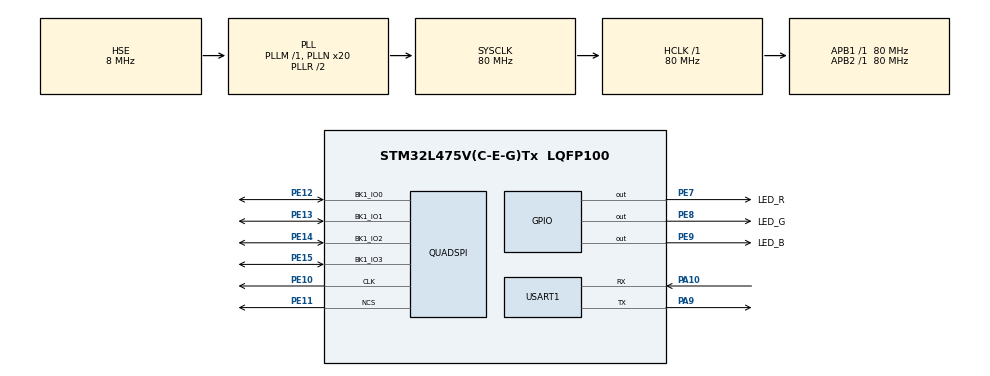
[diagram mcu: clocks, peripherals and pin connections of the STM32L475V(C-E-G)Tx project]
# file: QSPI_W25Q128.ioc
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Dma.QUADSPI.2.Direction=DMA_PERIPH_TO_MEMORY
Dma.QUADSPI.2.Instance=DMA1_Channel5
Dma.QUADSPI.2.MemDataAlignment=DMA_MDATAALIGN_BYTE
Dma.QUADSPI.2.MemInc=DMA_MINC_ENABLE
Dma.QUADSPI.2.Mode=DMA_NORMAL
Dma.QUADSPI.2.PeriphDataAlignment=DMA_PDATAALIGN_BYTE
Dma.QUADSPI.2.PeriphInc=DMA_PINC_DISABLE
Dma.QUADSPI.2.Priority=DMA_PRIORITY_LOW
Dma.Request0=USART1_RX
Dma.Request1=USART1_TX
Dma.Request2=QUADSPI
Dma.USART1_RX.0.Direction=DMA_PERIPH_TO_MEMORY
Dma.USART1_RX.0.Instance=DMA2_Channel7
Dma.USART1_RX.0.MemDataAlignment=DMA_MDATAALIGN_BYTE
Dma.USART1_RX.0.MemInc=DMA_MINC_ENABLE
Dma.USART1_RX.0.Mode=DMA_CIRCULAR
Dma.USART1_RX.0.PeriphDataAlignment=DMA_PDATAALIGN_BYTE
Dma.USART1_RX.0.PeriphInc=DMA_PINC_DISABLE
Dma.USART1_RX.0.Priority=DMA_PRIORITY_LOW
Dma.USART1_TX.1.Direction=DMA_MEMORY_TO_PERIPH
Dma.USART1_TX.1.Instance=DMA2_Channel6
Dma.USART1_TX.1.MemDataAlignment=DMA_MDATAALIGN_BYTE
Dma.USART1_TX.1.MemInc=DMA_MINC_ENABLE
Dma.USART1_TX.1.Mode=DMA_NORMAL
Dma.USART1_TX.1.PeriphDataAlignment=DMA_PDATAALIGN_BYTE
Dma.USART1_TX.1.PeriphInc=DMA_PINC_DISABLE
Dma.USART1_TX.1.Priority=DMA_PRIORITY_LOW
Mcu.Family=STM32L4
Mcu.Name=STM32L475V(C-E-G)Tx
Mcu.Package=LQFP100
NVIC.DMA1_Channel5_IRQn=true\:5\:1\:true\:false\:true\:false\:true
NVIC.DMA2_Channel6_IRQn=true\:7\:0\:true\:false\:true\:false\:true
NVIC.DMA2_Channel7_IRQn=true\:7\:1\:true\:false\:true\:false\:true
NVIC.PriorityGroup=NVIC_PRIORITYGROUP_3
NVIC.QUADSPI_IRQn=true\:5\:0\:true\:false\:true\:true\:true
NVIC.USART1_IRQn=true\:6\:0\:true\:false\:true\:true\:true
PA10.Mode=Asynchronous
PA10.Signal=USART1_RX
PA13\ (JTMS-SWDIO).Mode=Serial_Wire
PA13\ (JTMS-SWDIO).Signal=SYS_JTMS-SWDIO
PA14\ (JTCK-SWCLK).Mode=Serial_Wire
PA14\ (JTCK-SWCLK).Signal=SYS_JTCK-SWCLK
PA9.Mode=Asynchronous
PA9.Signal=USART1_TX
PE10.Mode=Single Bank
PE10.Signal=QUADSPI_CLK
PE11.Mode=Single Bank
PE11.Signal=QUADSPI_NCS
PE12.Mode=Single Bank
PE12.Signal=QUADSPI_BK1_IO0
PE13.Mode=Single Bank
PE13.Signal=QUADSPI_BK1_IO1
PE14.Mode=Single Bank
PE14.Signal=QUADSPI_BK1_IO2
PE15.Mode=Single Bank
PE15.Signal=QUADSPI_BK1_IO3
PE7.GPIO_Label=LED_R
PE7.GPIO_PuPd=GPIO_PULLUP
PE7.GPIO_Speed=GPIO_SPEED_FREQ_HIGH
PE7.PinState=GPIO_PIN_SET
PE7.Signal=GPIO_Output
PE8.GPIO_Label=LED_G
PE8.GPIO_PuPd=GPIO_PULLUP
PE8.GPIO_Speed=GPIO_SPEED_FREQ_HIGH
PE8.PinState=GPIO_PIN_SET
PE8.Signal=GPIO_Output
PE9.GPIO_Label=LED_B
PE9.GPIO_PuPd=GPIO_PULLUP
PE9.GPIO_Speed=GPIO_SPEED_FREQ_HIGH
PE9.PinState=GPIO_PIN_SET
PE9.Signal=GPIO_Output
PH0-OSC_IN\ (PH0).Mode=HSE-External-Oscillator
PH0-OSC_IN\ (PH0).Signal=RCC_OSC_IN
PH1-OSC_OUT\ (PH1).Mode=HSE-External-Oscillator
PH1-OSC_OUT\ (PH1).Signal=RCC_OSC_OUT
ProjectManager.HeapSize=0x200
ProjectManager.StackSize=0x400
ProjectManager.TargetToolchain=MDK-ARM V5
QUADSPI.ChipSelectHighTime-Single\ Bank=QSPI_CS_HIGH_TIME_2_CYCLE
QUADSPI.ClockPrescaler-Single\ Bank=0
QUADSPI.FifoThreshold-Single\ Bank=4
QUADSPI.FlashSize-Single\ Bank=23
QUADSPI.SampleShifting-Single\ Bank=QSPI_SAMPLE_SHIFTING_HALFCYCLE
RCC.ADCFreq_Value=32000000
RCC.AHBFreq_Value=80000000
RCC.APB1Freq_Value=80000000
RCC.APB1TimFreq_Value=80000000
RCC.APB2Freq_Value=80000000
RCC.APB2TimFreq_Value=80000000
RCC.CortexFreq_Value=80000000
RCC.HCLKFreq_Value=80000000
RCC.HSE_VALUE=8000000
RCC.HSI_VALUE=16000000
RCC.LSE_VALUE=32768
RCC.MSI_VALUE=4000000
RCC.PLLN=20
RCC.PLLSourceVirtual=RCC_PLLSOURCE_HSE
RCC.SYSCLKFreq_VALUE=80000000
RCC.SYSCLKSource=RCC_SYSCLKSOURCE_PLLCLK
RCC.USBFreq_Value=32000000
RCC.VCOOutputFreq_Value=160000000
USART1.VirtualMode-Asynchronous=VM_ASYNC
board=custom

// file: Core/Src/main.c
/* USER CODE BEGIN Header */
/**
  ******************************************************************************
  * @file           : main.c
  * @brief          : Main program body
  ******************************************************************************
  * @attention
  *
  * <h2><center>&copy; Copyright (c) 2019 STMicroelectronics.
  * All rights reserved.</center></h2>
  *
  * This software component is licensed by ST under BSD 3-Clause license,
  * the "License"; You may not use this file except in compliance with the
  * License. You may obtain a copy of the License at:
  *                        opensource.org/licenses/BSD-3-Clause
  *
  ******************************************************************************
  */
/* USER CODE END Header */

#include "main.h"

/* USER CODE BEGIN PD */

#define TestAddr  0x007F0000			//测试数据存储地址
#define TestSize  0x100           //测试数据大小

/* USER CODE END PD */

/* USER CODE BEGIN PV */

uint8_t wData[TestSize];
uint8_t rData[TestSize];

/* USER CODE END PV */

void SystemClock_Config(void);

int main(void)
{
  /* USER CODE BEGIN 1 */

  uint32_t i = 0;

  /* USER CODE END 1 */

  /* MCU Configuration--------------------------------------------------------*/

  /* Reset of all peripherals, Initializes the Flash interface and the Systick. */
  HAL_Init();

  /* Configure the system clock */
  SystemClock_Config();

  /* Initialize all configured peripherals */
  MX_GPIO_Init();
  MX_DMA_Init();
  MX_USART1_UART_Init();
  MX_QUADSPI_Init();
  /* USER CODE BEGIN 2 */

  printf(" W25Q128FV QuadSPI Test ....\r\n\r\n");

  /* 1- Read W25QXX Flash ID */
  W25QXX_TYPE = W25QXX_ReadID();

  printf(" W25Q128FV QuadSPI Device ID : 0x%4X\r\n",W25QXX_TYPE);
  if(W25QXX_TYPE == W25Q128)
    printf(" W25Q128FV QuadSPI Device name : W25Q128\r\n");

  /* 2-QSPI Erase/Write/Read Test */
  for(i = 0; i < TestSize; i++){
    wData[i] = i;
    rData[i] = 0;
  }

  W25QXX_Write(wData, TestAddr, TestSize);
  printf(" QSPI Write ok\r\n");

  W25QXX_Read(rData, TestAddr, TestSize);
  printf(" QSPI Read ok\r\n");

  printf("QSPI Read Data : \r\n");
  for(i = 0; i < TestSize; i++)
    printf("0x%02X  ", rData[i]);
  printf("\r\n\r\n");

  /* 3-check data */
  if(memcmp(wData, rData, TestSize) == 0)
    printf(" W25Q128FV QuadSPI Test OK\r\n");
  else
    printf(" W25Q128FV QuadSPI Test Failed\r\n");

  /* USER CODE END 2 */

  /* Infinite loop */
  while (1)
  {

  }
}

void SystemClock_Config(void)
{
  RCC_OscInitTypeDef RCC_OscInitStruct = {0};
  RCC_ClkInitTypeDef RCC_ClkInitStruct = {0};
  RCC_PeriphCLKInitTypeDef PeriphClkInit = {0};

  /** Initializes the CPU, AHB and APB busses clocks
  */
  RCC_OscInitStruct.OscillatorType = RCC_OSCILLATORTYPE_HSE;
  RCC_OscInitStruct.HSEState = RCC_HSE_ON;
  RCC_OscInitStruct.PLL.PLLState = RCC_PLL_ON;
  RCC_OscInitStruct.PLL.PLLSource = RCC_PLLSOURCE_HSE;
  RCC_OscInitStruct.PLL.PLLM = 1;
  RCC_OscInitStruct.PLL.PLLN = 20;
  RCC_OscInitStruct.PLL.PLLP = RCC_PLLP_DIV7;
  RCC_OscInitStruct.PLL.PLLQ = RCC_PLLQ_DIV2;
  RCC_OscInitStruct.PLL.PLLR = RCC_PLLR_DIV2;
  if (HAL_RCC_OscConfig(&RCC_OscInitStruct) != HAL_OK)
  {
    Error_Handler();
  }
  /** Initializes the CPU, AHB and APB busses clocks
  */
  RCC_ClkInitStruct.ClockType = RCC_CLOCKTYPE_HCLK|RCC_CLOCKTYPE_SYSCLK
                              |RCC_CLOCKTYPE_PCLK1|RCC_CLOCKTYPE_PCLK2;
  RCC_ClkInitStruct.SYSCLKSource = RCC_SYSCLKSOURCE_PLLCLK;
  RCC_ClkInitStruct.AHBCLKDivider = RCC_SYSCLK_DIV1;
  RCC_ClkInitStruct.APB1CLKDivider = RCC_HCLK_DIV1;
  RCC_ClkInitStruct.APB2CLKDivider = RCC_HCLK_DIV1;

  if (HAL_RCC_ClockConfig(&RCC_ClkInitStruct, FLASH_LATENCY_4) != HAL_OK)
  {
    Error_Handler();
  }
  PeriphClkInit.PeriphClockSelection = RCC_PERIPHCLK_USART1;
  PeriphClkInit.Usart1ClockSelection = RCC_USART1CLKSOURCE_PCLK2;
  if (HAL_RCCEx_PeriphCLKConfig(&PeriphClkInit) != HAL_OK)
  {
    Error_Handler();
  }
  /** Configure the main internal regulator output voltage
  */
  if (HAL_PWREx_ControlVoltageScaling(PWR_REGULATOR_VOLTAGE_SCALE1) != HAL_OK)
  {
    Error_Handler();
  }
}

void Error_Handler(void)
{
}

/************************ (C) COPYRIGHT STMicroelectronics *****END OF FILE****/
